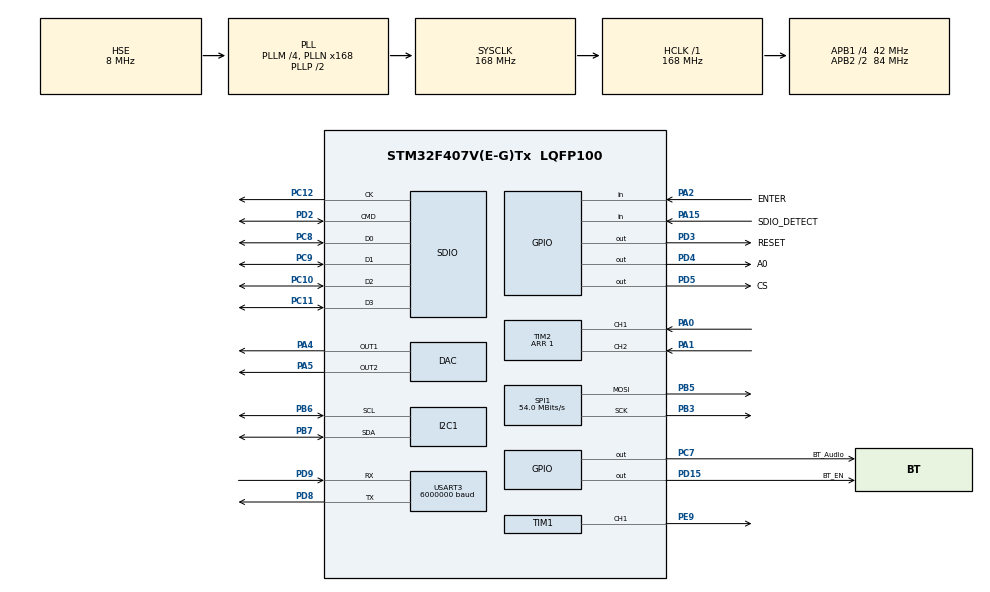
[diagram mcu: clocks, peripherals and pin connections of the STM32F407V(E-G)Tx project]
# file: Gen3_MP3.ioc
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DAC.DAC_Trigger=DAC_TRIGGER_T6_TRGO
DAC.DAC_Trigger2=DAC_TRIGGER_T6_TRGO
Dma.DAC1.2.Direction=DMA_MEMORY_TO_PERIPH
Dma.DAC1.2.FIFOMode=DMA_FIFOMODE_DISABLE
Dma.DAC1.2.Instance=DMA1_Stream5
Dma.DAC1.2.MemDataAlignment=DMA_MDATAALIGN_WORD
Dma.DAC1.2.MemInc=DMA_MINC_ENABLE
Dma.DAC1.2.Mode=DMA_CIRCULAR
Dma.DAC1.2.PeriphDataAlignment=DMA_PDATAALIGN_WORD
Dma.DAC1.2.PeriphInc=DMA_PINC_DISABLE
Dma.DAC1.2.Priority=DMA_PRIORITY_VERY_HIGH
Dma.Request0=USART3_TX
Dma.Request1=SPI1_TX
Dma.Request2=DAC1
Dma.Request3=SDIO_RX
Dma.Request4=SDIO_TX
Dma.SDIO_RX.3.Direction=DMA_PERIPH_TO_MEMORY
Dma.SDIO_RX.3.FIFOMode=DMA_FIFOMODE_ENABLE
Dma.SDIO_RX.3.FIFOThreshold=DMA_FIFO_THRESHOLD_FULL
Dma.SDIO_RX.3.Instance=DMA2_Stream6
Dma.SDIO_RX.3.MemBurst=DMA_MBURST_INC4
Dma.SDIO_RX.3.MemDataAlignment=DMA_MDATAALIGN_BYTE
Dma.SDIO_RX.3.MemInc=DMA_MINC_ENABLE
Dma.SDIO_RX.3.Mode=DMA_PFCTRL
Dma.SDIO_RX.3.PeriphBurst=DMA_PBURST_INC4
Dma.SDIO_RX.3.PeriphDataAlignment=DMA_PDATAALIGN_WORD
Dma.SDIO_RX.3.PeriphInc=DMA_PINC_DISABLE
Dma.SDIO_RX.3.Priority=DMA_PRIORITY_HIGH
Dma.SDIO_TX.4.Direction=DMA_MEMORY_TO_PERIPH
Dma.SDIO_TX.4.FIFOMode=DMA_FIFOMODE_ENABLE
Dma.SDIO_TX.4.FIFOThreshold=DMA_FIFO_THRESHOLD_FULL
Dma.SDIO_TX.4.Instance=DMA2_Stream3
Dma.SDIO_TX.4.MemBurst=DMA_MBURST_INC4
Dma.SDIO_TX.4.MemDataAlignment=DMA_MDATAALIGN_WORD
Dma.SDIO_TX.4.MemInc=DMA_MINC_ENABLE
Dma.SDIO_TX.4.Mode=DMA_PFCTRL
Dma.SDIO_TX.4.PeriphBurst=DMA_PBURST_INC4
Dma.SDIO_TX.4.PeriphDataAlignment=DMA_PDATAALIGN_WORD
Dma.SDIO_TX.4.PeriphInc=DMA_PINC_DISABLE
Dma.SDIO_TX.4.Priority=DMA_PRIORITY_HIGH
Dma.SPI1_TX.1.Direction=DMA_MEMORY_TO_PERIPH
Dma.SPI1_TX.1.FIFOMode=DMA_FIFOMODE_DISABLE
Dma.SPI1_TX.1.Instance=DMA2_Stream5
Dma.SPI1_TX.1.MemDataAlignment=DMA_MDATAALIGN_HALFWORD
Dma.SPI1_TX.1.MemInc=DMA_MINC_ENABLE
Dma.SPI1_TX.1.Mode=DMA_NORMAL
Dma.SPI1_TX.1.PeriphDataAlignment=DMA_PDATAALIGN_HALFWORD
Dma.SPI1_TX.1.PeriphInc=DMA_PINC_DISABLE
Dma.SPI1_TX.1.Priority=DMA_PRIORITY_LOW
Dma.USART3_TX.0.Direction=DMA_MEMORY_TO_PERIPH
Dma.USART3_TX.0.FIFOMode=DMA_FIFOMODE_DISABLE
Dma.USART3_TX.0.Instance=DMA1_Stream3
Dma.USART3_TX.0.MemDataAlignment=DMA_MDATAALIGN_BYTE
Dma.USART3_TX.0.MemInc=DMA_MINC_ENABLE
Dma.USART3_TX.0.Mode=DMA_NORMAL
Dma.USART3_TX.0.PeriphDataAlignment=DMA_PDATAALIGN_BYTE
Dma.USART3_TX.0.PeriphInc=DMA_PINC_DISABLE
Dma.USART3_TX.0.Priority=DMA_PRIORITY_LOW
FATFS.BSP.number=1
FATFS._CODE_PAGE=850
FATFS._FS_LOCK=0
FATFS._FS_READONLY=1
FATFS._LFN_UNICODE=0
FATFS._MAX_LFN=64
FATFS._MAX_SS=4096
FATFS._USE_LFN=3
FATFS._USE_MKFS=0
FATFS0.BSP.STBoard=false
FATFS0.BSP.api=Unknown
FATFS0.BSP.instance=PA15
FATFS0.BSP.ip=GPIO
FATFS0.BSP.mode=Input
FATFS0.BSP.name=Detect_SDIO
FATFS0.BSP.solution=PA15
FREERTOS.BinarySemaphores01=myBinarySem01,Dynamic,NULL
FREERTOS.Tasks01=defaultTask,8,1024,StartDefaultTask,Default,NULL,Dynamic,NULL,NULL;myTaskKey,9,128,StartTaskKey,Default,NULL,Dynamic,NULL,NULL
FREERTOS.configENABLE_FPU=1
FREERTOS.configGENERATE_RUN_TIME_STATS=1
FREERTOS.configIDLE_SHOULD_YIELD=0
FREERTOS.configRECORD_STACK_HIGH_ADDRESS=1
FREERTOS.configTOTAL_HEAP_SIZE=50000
FREERTOS.configUSE_MALLOC_FAILED_HOOK=1
FREERTOS.configUSE_NEWLIB_REENTRANT=1
FREERTOS.configUSE_OS2_MUTEX=1
FREERTOS.configUSE_OS2_TIMER=1
FREERTOS.configUSE_STATS_FORMATTING_FUNCTIONS=1
FREERTOS.configUSE_TRACE_FACILITY=1
Mcu.Family=STM32F4
Mcu.Name=STM32F407V(E-G)Tx
Mcu.Package=LQFP100
NVIC.DMA1_Stream3_IRQn=true\:5\:0\:false\:false\:true\:true\:false\:true\:true
NVIC.DMA1_Stream5_IRQn=true\:5\:0\:true\:false\:false\:true\:false\:true\:true
NVIC.DMA2_Stream3_IRQn=true\:5\:0\:true\:false\:true\:true\:false\:true\:true
NVIC.DMA2_Stream5_IRQn=true\:5\:0\:false\:false\:true\:false\:false\:true\:true
NVIC.DMA2_Stream6_IRQn=true\:5\:0\:false\:false\:true\:true\:false\:true\:true
NVIC.PriorityGroup=NVIC_PRIORITYGROUP_4
NVIC.SDIO_IRQn=true\:5\:0\:false\:false\:true\:true\:true\:true\:true
NVIC.TIM1_TRG_COM_TIM11_IRQn=true\:5\:0\:false\:false\:true\:true\:true\:true\:true
NVIC.TIM2_IRQn=true\:15\:0\:true\:false\:false\:true\:true\:true\:true
NVIC.TIM8_TRG_COM_TIM14_IRQn=true\:15\:0\:false\:false\:true\:false\:false\:true\:true
NVIC.TimeBase=TIM8_TRG_COM_TIM14_IRQn
NVIC.TimeBaseIP=TIM14
NVIC.USART3_IRQn=true\:5\:0\:false\:false\:true\:true\:true\:true\:true
PA0-WKUP.Signal=S_TIM2_CH1_ETR
PA1.Signal=S_TIM2_CH2
PA13.Mode=Serial_Wire
PA13.Signal=SYS_JTMS-SWDIO
PA14.Mode=Serial_Wire
PA14.Signal=SYS_JTCK-SWCLK
PA15.GPIO_Label=SDIO_DETECT
PA15.GPIO_PuPd=GPIO_PULLDOWN
PA15.Signal=GPIO_Input
PA2.GPIO_Label=ENTER
PA2.Signal=GPIO_Input
PA4.Signal=COMP_DAC1_group
PA5.Signal=COMP_DAC2_group
PB3.Mode=TX_Only_Simplex_Unidirect_Master
PB3.Signal=SPI1_SCK
PB5.Mode=TX_Only_Simplex_Unidirect_Master
PB5.Signal=SPI1_MOSI
PB6.Mode=I2C
PB6.Signal=I2C1_SCL
PB7.Mode=I2C
PB7.Signal=I2C1_SDA
PC10.GPIO_PuPd=GPIO_PULLUP
PC10.Mode=SD_4_bits_Wide_bus
PC10.Signal=SDIO_D2
PC11.GPIO_PuPd=GPIO_PULLUP
PC11.Mode=SD_4_bits_Wide_bus
PC11.Signal=SDIO_D3
PC12.GPIO_PuPd=GPIO_PULLUP
PC12.Mode=SD_4_bits_Wide_bus
PC12.Signal=SDIO_CK
PC7.GPIO_Label=BT_Audio
PC7.Signal=GPIO_Output
PC8.GPIO_PuPd=GPIO_PULLUP
PC8.Mode=SD_4_bits_Wide_bus
PC8.Signal=SDIO_D0
PC9.GPIO_PuPd=GPIO_PULLUP
PC9.Mode=SD_4_bits_Wide_bus
PC9.Signal=SDIO_D1
PD15.GPIO_Label=BT_EN
PD15.Signal=GPIO_Output
PD2.GPIO_PuPd=GPIO_PULLUP
PD2.Mode=SD_4_bits_Wide_bus
PD2.Signal=SDIO_CMD
PD3.GPIO_Label=RESET
PD3.Signal=GPIO_Output
PD4.GPIO_Label=A0
PD4.Signal=GPIO_Output
PD5.GPIO_Label=CS
PD5.Signal=GPIO_Output
PD8.Mode=Asynchronous
PD8.Signal=USART3_TX
PD9.Mode=Asynchronous
PD9.Signal=USART3_RX
PE9.Signal=S_TIM1_CH1
PH0-OSC_IN.Mode=HSE-External-Oscillator
PH0-OSC_IN.Signal=RCC_OSC_IN
PH1-OSC_OUT.Mode=HSE-External-Oscillator
PH1-OSC_OUT.Signal=RCC_OSC_OUT
ProjectManager.HeapSize=0x00
ProjectManager.StackSize=0x800
ProjectManager.TargetToolchain=STM32CubeIDE
RCC.48MHZClocksFreq_Value=48000000
RCC.AHBFreq_Value=168000000
RCC.APB1CLKDivider=RCC_HCLK_DIV4
RCC.APB1Freq_Value=42000000
RCC.APB1TimFreq_Value=84000000
RCC.APB2CLKDivider=RCC_HCLK_DIV2
RCC.APB2Freq_Value=84000000
RCC.APB2TimFreq_Value=168000000
RCC.CortexFreq_Value=168000000
RCC.HCLKFreq_Value=168000000
RCC.HSE_VALUE=8000000
RCC.HSI_VALUE=16000000
RCC.LSE_VALUE=32768
RCC.PLLM=4
RCC.PLLN=168
RCC.PLLQ=7
RCC.PLLSourceVirtual=RCC_PLLSOURCE_HSE
RCC.SYSCLKFreq_VALUE=168000000
RCC.SYSCLKSource=RCC_SYSCLKSOURCE_PLLCLK
RCC.VCOOutputFreq_Value=336000000
SDIO.ClockBypass=SDIO_CLOCK_BYPASS_ENABLE
SDIO.ClockDiv=4
SDIO.ClockPowerSave=SDIO_CLOCK_POWER_SAVE_DISABLE
SDIO.HardwareFlowControl=SDIO_HARDWARE_FLOW_CONTROL_DISABLE
SH.COMP_DAC1_group.0=DAC_OUT1,DAC_OUT1
SH.COMP_DAC2_group.0=DAC_OUT2,DAC_OUT2
SH.S_TIM1_CH1.0=TIM1_CH1,PWM Generation1 CH1
SH.S_TIM2_CH1_ETR.0=TIM2_CH1,Encoder_Interface
SH.S_TIM2_CH2.0=TIM2_CH2,Encoder_Interface
SPI1.BaudRatePrescaler=SPI_BAUDRATEPRESCALER_2
SPI1.CLKPhase=SPI_PHASE_2EDGE
SPI1.CLKPolarity=SPI_POLARITY_HIGH
SPI1.CalculateBaudRate=54.0 MBits/s
SPI1.Direction=SPI_DIRECTION_2LINES
SPI1.Mode=SPI_MODE_MASTER
SPI1.VirtualType=VM_MASTER
TIM1.Channel-PWM\ Generation1\ CH1=TIM_CHANNEL_1
TIM1.Period=255
TIM1.Prescaler=216
TIM12.Period=1000
TIM12.Prescaler=83
TIM2.IC1Filter=15
TIM2.IC1Prescaler=TIM_ICPSC_DIV8
TIM2.IC2Filter=15
TIM2.IC2Prescaler=TIM_ICPSC_DIV8
TIM2.Period=1
TIM2.TIM_MasterOutputTrigger=TIM_TRGO_UPDATE
TIM3.Period=50000
TIM3.Prescaler=215
TIM3.TIM_MasterOutputTrigger=TIM_TRGO_UPDATE
TIM6.Period=1903
TIM6.TIM_MasterOutputTrigger=TIM_TRGO_UPDATE
USART3.BaudRate=6000000
USART3.Mode=MODE_TX
USART3.OverSampling=UART_OVERSAMPLING_8
USART3.StopBits=STOPBITS_2
USART3.VirtualMode=VM_ASYNC
VP_CRC_VS_CRC.Mode=CRC_Activate
VP_FATFS_VS_SDIO.Mode=SDIO
VP_FREERTOS_VS_CMSIS_V2.Mode=CMSIS_V2
VP_SYS_VS_tim14.Mode=TIM14
VP_TIM12_VS_ClockSourceINT.Mode=Internal
VP_TIM1_VS_ClockSourceINT.Mode=Internal
VP_TIM3_VS_ClockSourceINT.Mode=Internal
VP_TIM5_VS_ClockSourceINT.Mode=Internal
VP_TIM6_VS_ClockSourceINT.Mode=Enable_Timer
board=custom

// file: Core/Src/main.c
/* USER CODE BEGIN Header */
/**
  ******************************************************************************
  * @file           : main.c
  * @brief          : Main program body
  ******************************************************************************
  * @attention
  *
  * Copyright (c) 2022 STMicroelectronics.
  * All rights reserved.
  *
  * This software is licensed under terms that can be found in the LICENSE file
  * in the root directory of this software component.
  * If no LICENSE file comes with this software, it is provided AS-IS.
  *
  ******************************************************************************
  */
/* USER CODE END Header */
#include "main.h"
#include "cmsis_os.h"
#include "crc.h"
#include "dac.h"
#include "dma.h"
#include "fatfs.h"
#include "i2c.h"
#include "sdio.h"
#include "spi.h"
#include "tim.h"
#include "usart.h"
#include "gpio.h"

/* USER CODE BEGIN Includes */
#include "mp3dec.h"
extern void main_cpp(void);
/* USER CODE END Includes */

void SystemClock_Config(void);
void MX_FREERTOS_Init(void);

int main(void)
{

  /* USER CODE BEGIN 1 */
	__disable_irq(); //????????? ??????????
	//SCB->VTOR = 0x8060000;

	//Обнулить только CCM-буферы (.my_ccmram), не трогая стековую область у 0x10010000,
	//где в этот момент работает сам main (SP указывает в CCM).
	extern uint8_t _smy_ccmram, _emy_ccmram;
	uint32_t *p;
	p = (uint32_t *)&_smy_ccmram;
	int count = ((uint32_t)&_emy_ccmram - (uint32_t)&_smy_ccmram) / sizeof(uint32_t);
	while(count--)
		*p++ = 0;

	SCB->VTOR = 0x8040000;

	//Переход из основного приложения (216 МГц, PLL = SYSCLK): HAL_RCC_OscConfig()
	//не может переконфигурировать активный PLL и вернёт HAL_ERROR, если новая
	//конфигурация отличается от текущей -> Error_Handler() (вечный цикл, выглядит
	//как зависание). До HAL_Init() уходим на HSI и гасим PLL, после чего
	//SystemClock_Config() штатно настроит 168 МГц.
	//На холодном старте SYSCLK и так HSI, а PLL выключен - оба блока пропускаются.
	if (__HAL_RCC_GET_SYSCLK_SOURCE() != RCC_SYSCLKSOURCE_STATUS_HSI)
	{
		__HAL_RCC_HSI_ENABLE();
		while (__HAL_RCC_GET_FLAG(RCC_FLAG_HSIRDY) == RESET) {}
		__HAL_RCC_SYSCLK_CONFIG(RCC_SYSCLKSOURCE_HSI);
		while (__HAL_RCC_GET_SYSCLK_SOURCE() != RCC_SYSCLKSOURCE_STATUS_HSI) {}
	}
	if (READ_BIT(RCC->CR, RCC_CR_PLLON) != 0U)
	{
		__HAL_RCC_PLL_DISABLE();
		while (READ_BIT(RCC->CR, RCC_CR_PLLRDY) != 0U) {}
	}

	__enable_irq(); //????????? ??????????
  /* USER CODE END 1 */

  /* MCU Configuration--------------------------------------------------------*/

  /* Reset of all peripherals, Initializes the Flash interface and the Systick. */
  HAL_Init();

  /* Configure the system clock */
  SystemClock_Config();

  /* USER CODE BEGIN SysInit */
  MX_DMA_Init();
  /* USER CODE END SysInit */

  /* Initialize all configured peripherals */
  MX_GPIO_Init();
  MX_DMA_Init();
  MX_CRC_Init();
  MX_SDIO_SD_Init();
  MX_USART3_UART_Init();
  MX_FATFS_Init();
  MX_SPI1_Init();
  MX_DAC_Init();
  MX_I2C1_Init();
  MX_TIM1_Init();
  MX_TIM2_Init();
  MX_TIM3_Init();
  MX_TIM5_Init();
  MX_TIM6_Init();
  MX_TIM12_Init();
  /* USER CODE BEGIN 2 */
  BSP_SD_Init();

  //Encoder
  TIM2->SR &= ~TIM_SR_UIF; // clear UIF flag
  HAL_TIM_Base_Start(&htim2);
  HAL_TIM_Base_Start_IT(&htim2);
  TIM2->DIER |= TIM_DIER_UIE;

  TIM1->CCR1 = 200;
  HAL_TIM_PWM_Start(&htim1, TIM_CHANNEL_1);

  /* TIM12: шкала 1 мкс для замеров времени (debugTask). ARR=1000 -> IRQ каждые 1 мс
     инкрементирует debug_mode.timer_ms; без этого StopTimeMeasurement/GetCurrentTime
     возвращали мусор (TIM12 никто не запускал). */
  HAL_NVIC_SetPriority(TIM8_BRK_TIM12_IRQn, 6, 0);
  HAL_NVIC_EnableIRQ(TIM8_BRK_TIM12_IRQn);
  TIM12->DIER |= TIM_DIER_UIE;
  TIM12->CR1 |= TIM_CR1_CEN;

  /* USER CODE END 2 */

  /* Init scheduler */
  osKernelInitialize();  /* Call init function for freertos objects (in cmsis_os2.c) */
  MX_FREERTOS_Init();

  /* Start scheduler */
  osKernelStart();

  /* We should never get here as control is now taken by the scheduler */

  /* Infinite loop */
  while (1)
  {

  }
}

void SystemClock_Config(void)
{
  RCC_OscInitTypeDef RCC_OscInitStruct = {0};
  RCC_ClkInitTypeDef RCC_ClkInitStruct = {0};

  /** Configure the main internal regulator output voltage
  */
  __HAL_RCC_PWR_CLK_ENABLE();
  __HAL_PWR_VOLTAGESCALING_CONFIG(PWR_REGULATOR_VOLTAGE_SCALE1);

  /** Initializes the RCC Oscillators according to the specified parameters
  * in the RCC_OscInitTypeDef structure.
  */
  RCC_OscInitStruct.OscillatorType = RCC_OSCILLATORTYPE_HSE;
  RCC_OscInitStruct.HSEState = RCC_HSE_ON;
  RCC_OscInitStruct.PLL.PLLState = RCC_PLL_ON;
  RCC_OscInitStruct.PLL.PLLSource = RCC_PLLSOURCE_HSE;
  RCC_OscInitStruct.PLL.PLLM = 4;
  RCC_OscInitStruct.PLL.PLLN = 168;
  RCC_OscInitStruct.PLL.PLLP = RCC_PLLP_DIV2;
  RCC_OscInitStruct.PLL.PLLQ = 7;
  if (HAL_RCC_OscConfig(&RCC_OscInitStruct) != HAL_OK)
  {
    Error_Handler();
  }

  /** Initializes the CPU, AHB and APB buses clocks
  */
  RCC_ClkInitStruct.ClockType = RCC_CLOCKTYPE_HCLK|RCC_CLOCKTYPE_SYSCLK
                              |RCC_CLOCKTYPE_PCLK1|RCC_CLOCKTYPE_PCLK2;
  RCC_ClkInitStruct.SYSCLKSource = RCC_SYSCLKSOURCE_PLLCLK;
  RCC_ClkInitStruct.AHBCLKDivider = RCC_SYSCLK_DIV1;
  RCC_ClkInitStruct.APB1CLKDivider = RCC_HCLK_DIV4;
  RCC_ClkInitStruct.APB2CLKDivider = RCC_HCLK_DIV2;

  if (HAL_RCC_ClockConfig(&RCC_ClkInitStruct, FLASH_LATENCY_5) != HAL_OK)
  {
    Error_Handler();
  }
}

void HAL_TIM_PeriodElapsedCallback(TIM_HandleTypeDef *htim)
{
  if (htim->Instance == TIM14)
  {
    HAL_IncTick();
  }
}

void Error_Handler(void)
{
  __disable_irq();
  while (1)
  {
  }
}

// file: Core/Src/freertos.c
/* USER CODE BEGIN Header */
/**
  ******************************************************************************
  * File Name          : freertos.c
  * Description        : Code for freertos applications
  ******************************************************************************
  * @attention
  *
  * Copyright (c) 2022 STMicroelectronics.
  * All rights reserved.
  *
  * This software is licensed under terms that can be found in the LICENSE file
  * in the root directory of this software component.
  * If no LICENSE file comes with this software, it is provided AS-IS.
  *
  ******************************************************************************
  */
/* USER CODE END Header */

#include "FreeRTOS.h"
#include "task.h"
#include "main.h"
#include "cmsis_os.h"

/* USER CODE BEGIN Includes */
#include <trcRecorder.h>
extern void main_cpp(void);
extern void KEY_tick(void);
/* USER CODE END Includes */

/* Definitions for defaultTask */
osThreadId_t defaultTaskHandle;
const osThreadAttr_t defaultTask_attributes = {
  .name = "defaultTask",
  .stack_size = 1536 * 4,	// HMI + readDir (LFN); HWM показывал ~179 слов из 1024
  .priority = (osPriority_t) osPriorityLow,
};
/* Definitions for myTaskKey */
osThreadId_t myTaskKeyHandle;
const osThreadAttr_t myTaskKey_attributes = {
  .name = "myTaskKey",
  .stack_size = 128 * 4,
  .priority = (osPriority_t) osPriorityLow1,
};
/* Definitions for myBinarySem01 */
osSemaphoreId_t myBinarySem01Handle;
const osSemaphoreAttr_t myBinarySem01_attributes = {
  .name = "myBinarySem01"
};

void StartDefaultTask(void *argument);
void StartTaskKey(void *argument);

void MX_FREERTOS_Init(void); /* (MISRA C 2004 rule 8.1) */

/* Hook prototypes */
void configureTimerForRunTimeStats(void);
unsigned long getRunTimeCounterValue(void);
void vApplicationMallocFailedHook(void);

/* USER CODE BEGIN 1 */
/* Functions needed when configGENERATE_RUN_TIME_STATS is on */
__weak void configureTimerForRunTimeStats(void)
{

}

__weak unsigned long getRunTimeCounterValue(void)
{
return 0;
}
/* USER CODE END 1 */

/* USER CODE BEGIN 5 */
void vApplicationMallocFailedHook(void)
{
   /* vApplicationMallocFailedHook() will only be called if
   configUSE_MALLOC_FAILED_HOOK is set to 1 in FreeRTOSConfig.h. It is a hook
   function that will get called if a call to pvPortMalloc() fails.
   pvPortMalloc() is called internally by the kernel whenever a task, queue,
   timer or semaphore is created. It is also called by various parts of the
   demo application. If heap_1.c or heap_2.c are used, then the size of the
   heap available to pvPortMalloc() is defined by configTOTAL_HEAP_SIZE in
   FreeRTOSConfig.h, and the xPortGetFreeHeapSize() API function can be used
   to query the size of free heap space that remains (although it does not
   provide information on how the remaining heap might be fragmented). */
}
/* USER CODE END 5 */

void MX_FREERTOS_Init(void) {
  /* USER CODE BEGIN Init */
  xTraceEnable(TRC_START);
  /* USER CODE END Init */

  /* Create the semaphores(s) */
  /* creation of myBinarySem01 */
  myBinarySem01Handle = osSemaphoreNew(1, 0, &myBinarySem01_attributes);

  /* Create the thread(s) */
  /* creation of defaultTask */
  defaultTaskHandle = osThreadNew(StartDefaultTask, NULL, &defaultTask_attributes);

  /* creation of myTaskKey */
  myTaskKeyHandle = osThreadNew(StartTaskKey, NULL, &myTaskKey_attributes);

}

void StartDefaultTask(void *argument)
{
  /* USER CODE BEGIN StartDefaultTask */
	main_cpp();
  /* Infinite loop */
  for(;;)
  {
    osDelay(1);
  }
  /* USER CODE END StartDefaultTask */
}

void StartTaskKey(void *argument)
{
  /* USER CODE BEGIN StartTaskKey */
  /* Infinite loop */
  for(;;)
  {
	KEY_tick();
    osDelay(10);
  }
  /* USER CODE END StartTaskKey */
}
